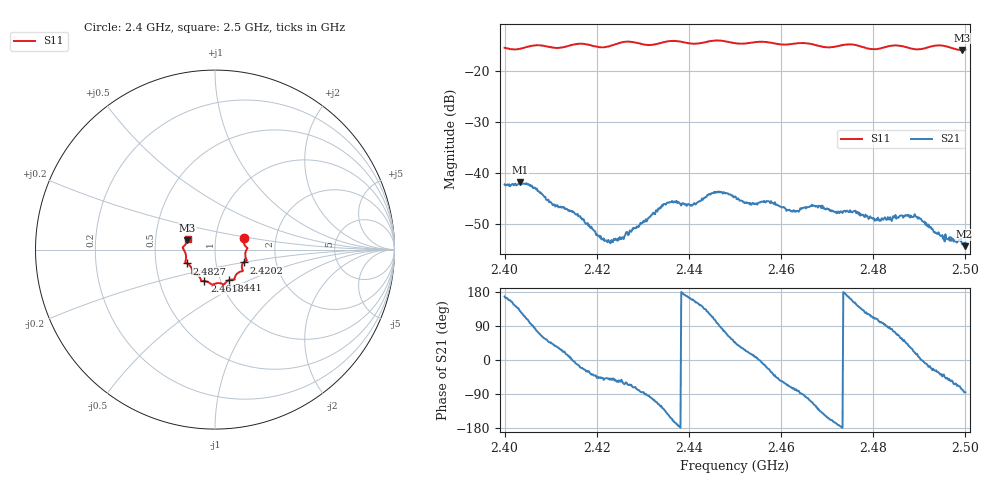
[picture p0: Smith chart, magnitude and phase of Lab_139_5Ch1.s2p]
# Hz S RI R 50
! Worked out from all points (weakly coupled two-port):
!   601 points, 2.4 GHz to 2.5 GHz, reference 50 ohm
!   highest |S21| = -41.89 dB at 2.4033 GHz (marker M1); lowest = -54.5 dB at 2.4998 GHz (marker M2)
!   lowest |S11| = -15.8 dB at 2.4993 GHz (marker M3), VSWR 1.39, Z = 36.5 + j3.8 ohm
!   |S11| at or under -10 dB: start of sweep to end of sweep
!   S12 and S22 are empty: the file has one direction only
!   S11 on the Smith chart (normalised r, x): 2.4 GHz: 1.36, +0.18; 2.4202 GHz: 1.36, -0.20; 2.441 GHz: 1.10, -0.39; 2.4618 GHz: 0.84, -0.30; 2.4827 GHz: 0.72, -0.11; 2.5 GHz: 0.73, +0.09
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2.4e9  0.159 0.0627  -0.00752 0.00167  0 0  0 0
2.403333e9  0.165 0.0255  -0.00511 0.00622  0 0  0 0
2.4055e9  0.1766 0.0121  -0.000915 0.00738  0 0  0 0
2.4105e9  0.1712 -0.011  0.00359 0.00317  0 0  0 0
2.416667e9  0.1772 -0.0608  0.00335 -0.00133  0 0  0 0
2.420167e9  0.159 -0.0714  0.00171 -0.00168  0 0  0 0
2.4225e9  0.1496 -0.0923  0.00141 -0.00166  0 0  0 0
2.425333e9  0.155 -0.1151  0.00137 -0.00175  0 0  0 0
2.433333e9  0.1117 -0.1507  -0.00198 -0.00399  0 0  0 0
2.435833e9  0.1093 -0.1663  -0.00443 -0.00259  0 0  0 0
2.441e9  0.0789 -0.1697  -0.00451 0.00189  0 0  0 0
2.445833e9  0.05 -0.1953  -0.00142 0.00635  0 0  0 0
2.45e9  0.0285 -0.1874  0.00399 0.00429  0 0  0 0
2.461833e9  -0.0592 -0.1755  0.00149 -0.00406  0 0  0 0
2.466667e9  -0.0787 -0.1683  -0.00176 -0.00451  0 0  0 0
2.482667e9  -0.1559 -0.077  -0.000128 0.00355  0 0  0 0
2.483333e9  -0.1602 -0.0749  0.000298 0.00349  0 0  0 0
2.489333e9  -0.1617 -0.0332  0.00358 0.000932  0 0  0 0
2.495e9  -0.1791 0.0126  0.00178 -0.00167  0 0  0 0
2.499333e9  -0.1542 0.0508  0.000396 -0.00193  0 0  0 0
2.499833e9  -0.1526 0.058  0.000153 -0.00189  0 0  0 0
2.5e9  -0.1523 0.0604  0.000155 -0.00204  0 0  0 0
